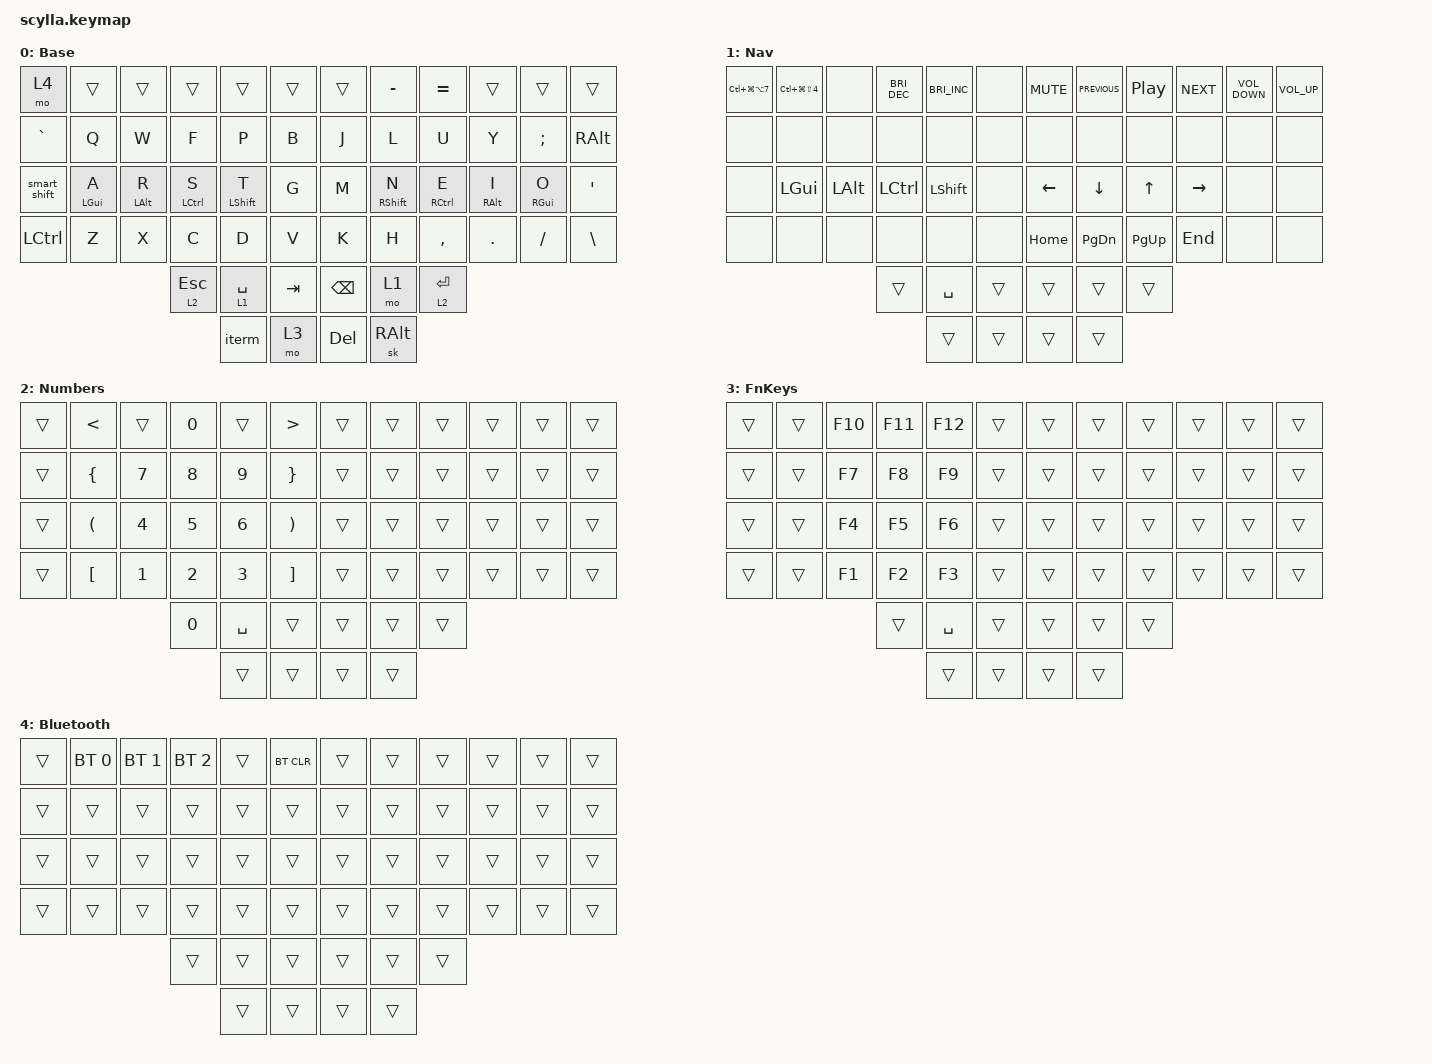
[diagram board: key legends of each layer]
#include <behaviors.dtsi>
#include <dt-bindings/zmk/bt.h>
#include <dt-bindings/zmk/keys.h>

&lt {
};

/ {
    behaviors {
        hml: hml {
            compatible = "zmk,behavior-hold-tap";
            label = "HOMEROW_LEFT";
            bindings = <&kp>, <&kp>;

            #binding-cells = <2>;
            flavor = "balanced";
            tapping-term-ms = <220>;
            require-prior-idle-ms = <150>;
            hold-trigger-on-release;
            hold-trigger-key-positions = <48 49 50 54 55 51 52 53 56 57 6 7 8 9 10 11 18 19 20 21 22 23 30 31 32 33 34 35 42 43 44 45 46 47>;
        };

        hmr: hmr {
            compatible = "zmk,behavior-hold-tap";
            label = "HOMEROW_RIGHT";
            bindings = <&kp>, <&kp>;

            #binding-cells = <2>;
            flavor = "balanced";
            tapping-term-ms = <280>;
            require-prior-idle-ms = <150>;
            hold-trigger-on-release;
            hold-trigger-key-positions = <48 49 50 51 52 53 54 55 56 57 0 1 2 3 4 5 12 13 14 15 16 17 24 25 26 27 28 29 36 37 38 39 40 41>;
        };

        smart_shift: smart_shift {
            compatible = "zmk,behavior-mod-morph";
            label = "SMART_SHIFT";
            bindings = <&sk LEFT_SHIFT>, <&caps_word>;

            #binding-cells = <0>;
            mods = <(MOD_LSFT|MOD_RSFT)>;
        };

        hml_shift: hml_shift {
            compatible = "zmk,behavior-hold-tap";
            label = "HML_SHIFT";
            bindings = <&kp>, <&kp>;

            #binding-cells = <2>;
            flavor = "balanced";
            tapping-term-ms = <200>;
            require-prior-idle-ms = <70>;
            hold-trigger-on-release;
            hold-trigger-key-positions = <48 49 50 54 55 51 52 53 56 57 6 7 8 9 10 11 18 19 20 21 22 23 30 31 32 33 34 35 42 43 44 45 46 47>;
        };

        hmr_shift: hmr_shift {
            compatible = "zmk,behavior-hold-tap";
            label = "HMR_SHIFT";
            bindings = <&kp>, <&kp>;

            #binding-cells = <2>;
            flavor = "balanced";
            tapping-term-ms = <200>;
            require-prior-idle-ms = <70>;
            hold-trigger-on-release;
            hold-trigger-key-positions = <48 49 50 51 52 53 54 55 56 57 0 1 2 3 4 5 12 13 14 15 16 17 24 25 26 27 28 29 36 37 38 39 40 41>;
        };
    };

    macros {
        iterm: iterm {
            compatible = "zmk,behavior-macro";
            #binding-cells = <0>;
            bindings = <&kp LEFT_COMMAND &kp LEFT_COMMAND>;
            label = "ITERM";
        };
    };

    combos {
        compatible = "zmk,combos";

        a_ogonek {
            bindings = <&kp RA(A)>;
            key-positions = <13 25>;
        };

        e_ogonek {
            bindings = <&kp RA(E)>;
            key-positions = <32 20>;
        };

        l_slash {
            bindings = <&kp RA(L)>;
            key-positions = <19 7>;
        };

        o_acute {
            bindings = <&kp RA(O)>;
            key-positions = <34 22>;
        };

        n_acute {
            bindings = <&kp RA(N)>;
            key-positions = <31 19>;
        };

        s_acute {
            bindings = <&kp RA(S)>;
            key-positions = <27 15>;
        };

        c_acute {
            bindings = <&kp RA(C)>;
            key-positions = <39 27>;
        };

        z_acute {
            bindings = <&kp RA(X)>;
            key-positions = <38 26>;
        };

        z_dot {
            bindings = <&kp RA(Z)>;
            key-positions = <37 25>;
        };
    };

    keymap {
        compatible = "zmk,keymap";

        Base {
            bindings = <
&mo 4         &trans           &trans           &trans        &trans               &trans   &trans         &kp MINUS            &kp EQUAL             &trans       &trans            &trans
&kp GRAVE     &kp Q            &kp W            &kp F         &kp P                &kp B    &kp J          &kp L                &kp U                 &kp Y        &kp SEMICOLON     &kp RIGHT_ALT
&smart_shift  &hml LEFT_GUI A  &hml LEFT_ALT R  &hml LCTRL S  &hml_shift LSHIFT T  &kp G    &kp M          &hmr_shift RSHIFT N  &hmr RIGHT_CONTROL E  &hmr RALT I  &hmr RIGHT_GUI O  &kp APOSTROPHE
&kp LCTRL     &kp Z            &kp X            &kp C         &kp D                &kp V    &kp K          &kp H                &kp COMMA             &kp DOT      &kp SLASH         &kp BACKSLASH
                                                &lt 2 ESCAPE  &lt 1 SPACE          &kp TAB  &kp BACKSPACE  &mo 1                &lt 2 ENTER
                                                              &iterm               &mo 3    &kp DEL        &sk RIGHT_ALT
            >;
        };

        Nav {
            bindings = <
&kp LC(LG(LA(NUMBER_7)))  &kp LC(LG(LS(NUMBER_4)))  &none     &kp C_BRIGHTNESS_DEC  &kp C_BRIGHTNESS_INC  &none   &kp K_MUTE  &kp C_PREVIOUS  &kp C_PLAY_PAUSE  &kp C_NEXT  &kp C_VOLUME_DOWN  &kp C_VOLUME_UP
&none                     &none                     &none     &none                 &none                 &none   &none       &none           &none             &none       &none              &none
&none                     &kp LGUI                  &kp LALT  &kp LCTRL             &kp LSHFT             &none   &kp LEFT    &kp DOWN        &kp UP            &kp RIGHT   &none              &none
&none                     &none                     &none     &none                 &none                 &none   &kp HOME    &kp PAGE_DOWN   &kp PG_UP         &kp END     &none              &none
                                                              &trans                &kp SPACE             &trans  &trans      &trans          &trans
                                                                                    &trans                &trans  &trans      &trans
            >;
        };

        Numbers {
            bindings = <
&trans  &kp LESS_THAN         &trans  &kp N0        &trans     &kp GREATER_THAN       &trans  &trans  &trans  &trans  &trans  &trans
&trans  &kp LEFT_BRACE        &kp N7  &kp N8        &kp N9     &kp RIGHT_BRACE        &trans  &trans  &trans  &trans  &trans  &trans
&trans  &kp LEFT_PARENTHESIS  &kp N4  &kp N5        &kp N6     &kp RIGHT_PARENTHESIS  &trans  &trans  &trans  &trans  &trans  &trans
&trans  &kp LEFT_BRACKET      &kp N1  &kp N2        &kp N3     &kp RIGHT_BRACKET      &trans  &trans  &trans  &trans  &trans  &trans
                                      &kp NUMBER_0  &kp SPACE  &trans                 &trans  &trans  &trans
                                                    &trans     &trans                 &trans  &trans
            >;
        };

        FnKeys {
            bindings = <
&trans  &trans  &kp F10  &kp F11  &kp F12    &trans  &trans  &trans  &trans  &trans  &trans  &trans
&trans  &trans  &kp F7   &kp F8   &kp F9     &trans  &trans  &trans  &trans  &trans  &trans  &trans
&trans  &trans  &kp F4   &kp F5   &kp F6     &trans  &trans  &trans  &trans  &trans  &trans  &trans
&trans  &trans  &kp F1   &kp F2   &kp F3     &trans  &trans  &trans  &trans  &trans  &trans  &trans
                         &trans   &kp SPACE  &trans  &trans  &trans  &trans
                                  &trans     &trans  &trans  &trans
            >;
        };

        Bluetooth {
            bindings = <
&trans  &bt BT_SEL 0  &bt BT_SEL 1  &bt BT_SEL 2  &trans  &bt BT_CLR  &trans  &trans  &trans  &trans  &trans  &trans
&trans  &trans        &trans        &trans        &trans  &trans      &trans  &trans  &trans  &trans  &trans  &trans
&trans  &trans        &trans        &trans        &trans  &trans      &trans  &trans  &trans  &trans  &trans  &trans
&trans  &trans        &trans        &trans        &trans  &trans      &trans  &trans  &trans  &trans  &trans  &trans
                                    &trans        &trans  &trans      &trans  &trans  &trans
                                                  &trans  &trans      &trans  &trans
            >;
        };
    };
};
